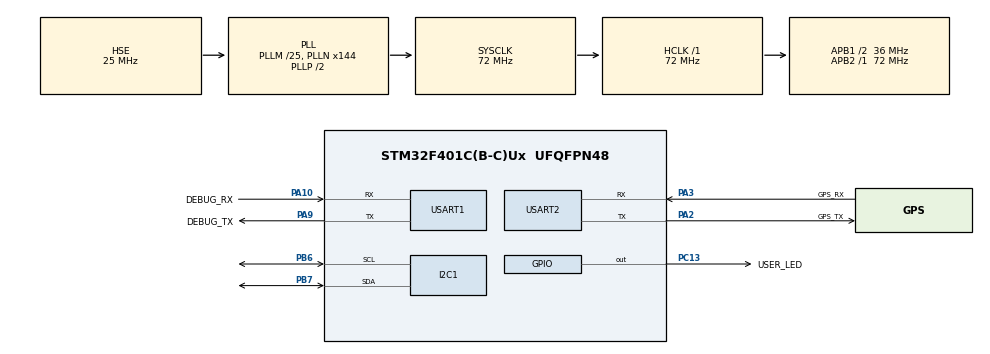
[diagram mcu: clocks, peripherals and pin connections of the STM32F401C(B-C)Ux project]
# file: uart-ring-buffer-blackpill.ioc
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Mcu.Family=STM32F4
Mcu.Name=STM32F401C(B-C)Ux
Mcu.Package=UFQFPN48
NVIC.I2C1_ER_IRQn=true\:0\:0\:false\:false\:true\:true\:true\:true
NVIC.I2C1_EV_IRQn=true\:0\:0\:false\:false\:true\:true\:true\:true
NVIC.PriorityGroup=NVIC_PRIORITYGROUP_4
NVIC.TIM2_IRQn=true\:0\:0\:false\:false\:true\:true\:true\:true
NVIC.USART2_IRQn=true\:0\:0\:false\:false\:true\:true\:true\:true
PA10.GPIO_Label=DEBUG_RX
PA10.Mode=Asynchronous
PA10.Signal=USART1_RX
PA2.GPIO_Label=GPS_TX
PA2.Mode=Asynchronous
PA2.Signal=USART2_TX
PA3.GPIO_Label=GPS_RX
PA3.Mode=Asynchronous
PA3.Signal=USART2_RX
PA9.GPIO_Label=DEBUG_TX
PA9.Mode=Asynchronous
PA9.Signal=USART1_TX
PB6.Mode=I2C
PB6.Signal=I2C1_SCL
PB7.Mode=I2C
PB7.Signal=I2C1_SDA
PC13-ANTI_TAMP.GPIO_Label=USER_LED
PC13-ANTI_TAMP.Signal=GPIO_Output
PH0\ -\ OSC_IN.Mode=HSE-External-Oscillator
PH0\ -\ OSC_IN.Signal=RCC_OSC_IN
PH1\ -\ OSC_OUT.Mode=HSE-External-Oscillator
PH1\ -\ OSC_OUT.Signal=RCC_OSC_OUT
ProjectManager.HeapSize=0x200
ProjectManager.StackSize=0x400
ProjectManager.TargetToolchain=STM32CubeIDE
RCC.48MHZClocksFreq_Value=36000000
RCC.AHBFreq_Value=72000000
RCC.APB1CLKDivider=RCC_HCLK_DIV2
RCC.APB1Freq_Value=36000000
RCC.APB1TimFreq_Value=72000000
RCC.APB2Freq_Value=72000000
RCC.APB2TimFreq_Value=72000000
RCC.CortexFreq_Value=72000000
RCC.HCLKFreq_Value=72000000
RCC.HSE_VALUE=25000000
RCC.HSI_VALUE=16000000
RCC.LSE_VALUE=32768
RCC.PLLM=25
RCC.PLLN=144
RCC.PLLSourceVirtual=RCC_PLLSOURCE_HSE
RCC.SYSCLKFreq_VALUE=72000000
RCC.SYSCLKSource=RCC_SYSCLKSOURCE_PLLCLK
RCC.VCOOutputFreq_Value=144000000
TIM2.AutoReloadPreload=TIM_AUTORELOAD_PRELOAD_ENABLE
TIM2.Period=10000-1
TIM2.Prescaler=7200-1
USART1.VirtualMode=VM_ASYNC
USART2.VirtualMode=VM_ASYNC
VP_TIM2_VS_ClockSourceINT.Mode=Internal
board=custom

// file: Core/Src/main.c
/* USER CODE BEGIN Header */
/**
  ******************************************************************************
  * @file           : main.c
  * @brief          : Main program body
  ******************************************************************************
  * @attention
  *
  * Copyright (c) 2024 STMicroelectronics.
  * All rights reserved.
  *
  * This software is licensed under terms that can be found in the LICENSE file
  * in the root directory of this software component.
  * If no LICENSE file comes with this software, it is provided AS-IS.
  *
  ******************************************************************************
  */
/* USER CODE END Header */
#include "main.h"

/* USER CODE BEGIN Includes */
#include "NMEA.h"
#include "UartRingbuffer.h"
#include <stdio.h>
#include <string.h>
#include <stdarg.h>

/* USER CODE END Includes */

/* USER CODE BEGIN PD */

#define I2C_ADDRESS        0x3E  /* Real 7 bits slave address value in Datasheet is: b0011111
                                    mean in uint8_t equivalent at 0x1F and this value can be
                                    seen in the OAR1 register in bits ADD[1:7] */
#define MASTER_REQ_READ    0x12
#define MASTER_REQ_WRITE   0x34

#define pi 3.1416

/* Buffer Used for transmission */
uint8_t aTxBuffer[] = "Received message";

/* Buffer used for Reception */
uint8_t aRxBuffer[16];
uint8_t bTransferRequest = 0;
uint8_t initTransfer = 0;

// GPS activation commands
char startGPSCommand[15] = "AT+GPS=1\r\n";
char startGPSCommandReceive[15] = "AT+GPSRD=5\r\n";

#define DEBUG 1 // set to 0 to disable debugging

/* USER CODE END PD */

I2C_HandleTypeDef hi2c1;

TIM_HandleTypeDef htim2;

UART_HandleTypeDef huart1;
UART_HandleTypeDef huart2;

void SystemClock_Config(void);
static void MX_GPIO_Init(void);
static void MX_USART1_UART_Init(void);
static void MX_USART2_UART_Init(void);
static void MX_I2C1_Init(void);
static void MX_TIM2_Init(void);
/* USER CODE BEGIN PFP */

void initGPS();
int read_GPS(void);
void Read_GPS(void);
int Get_TimeElapsed(int);
int Check_GeoFence(void);
void Retrieve_EEPROM (uint32_t);
int Save_toEEPROM(uint32_t, char*);
float deg2rad(float);
float rad2deg(float);
void Set_Time(int);
int Set_Location(uint32_t);
int Set_Location(uint32_t);

// helper functions
void myprintf(UART_HandleTypeDef huart, const char* fmt, ...);

/* USER CODE END PFP */

/* USER CODE BEGIN 0 */
char* lineStatus[] = {"stopped", "running", "fast forward", "fast forward->12"};
int linesInd = 0;
int setLoc = 0;   // I2C flag to set current location for Geo-Fencing

GPSSTRUCT gpsData;
int flagGGA = 0, flagRMC = 0;

char lcdBuffer1 [50];
char lcdBuffer2 [50];

char start_GPS_command[15] = "AT+GPS=1\n\r";
char received_data[100]; // hold data received from GPS
char gga[10] = "GGA";

char posBuffer[50];
char timeBuffer[50];

int VCCTimeout = 5000; // GGA or RMC will not be received if the VCC is not sufficient
char no_fix_message[40] = "Decode error: No satellite fix. Please move to an open area";
char vcc_timeout_message[40] = "Decode error: Low VCC. GPS power supply should be 5V";

/** EEPROM STUFF **/
// EEPROM Addresses
#define STM32F4 1

#if STM32F4 == 1

	// EEPROM memory address for STM32F401CCU6
	uint32_t locAddress = 0x08004810;
	uint32_t timeAddress = 0x08005C10;
	uint32_t refAddress = 0x08004410;

#else

	// EEPROM memory address for STM32F103C8
	uint32_t locAddress = 0x08004810;
	uint32_t timeAddress = 0x08005C10;
	uint32_t refAddress = 0x08004410;

#endif

char *data = "hello FLASH from ControllerTech\
			  This is a test to see how many";

char *timeG = "12:12:14";
char *dateG = "010223";
char *lat = "12.34S";
char *lon = "12.34W";
int GPSLocked; //tells if we have GPS signal locked or not

uint32_t data2[] = {0x1,0x2,0x3,0x4,0x5,0x6,0x7,0x8,0x9};

uint32_t Rx_Data[30];

char string[100];

float RxVal;

// Save seconds and minutes on timer
int secS = 0;     // Timer2 second lapsed (tick)
int minP = 0;     // Timer minute
int minD = 0;     // Minutes lapsed since failed initialization

//char received_data[100];
char GGA[100]; // hold GGA data from GPS
char RMC[100];

char gpsResponseBuf[100]; // hold GPS response during initialization

void initGPS(){

	Uart_sendstring(startGPSCommand); // start GPS
	HAL_Delay(200);
	Uart_sendstring(startGPSCommandReceive); // receive GPS data after N seconds
	HAL_Delay(200);

}

int checkGPSInitResponse() {

	if(Wait_for("OK") == 1) {
		VCCTimeout = 5000;
		return 1;

	} else {
		VCCTimeout = 5000;
		return 0;
	}

	if (VCCTimeout <= 0)
	  {
		  VCCTimeout = 5000;  // Reset the timeout

		  //reset flags
		  flagGGA =flagRMC =0;

		  myprintf(huart1, vcc_timeout_message);
		  return 0;
	  }

}

void myprintf(UART_HandleTypeDef huart, const char* fmt,  ...){
	static char buffer[256];
	va_list args;
	va_start(args, fmt);
	vsnprintf(buffer, sizeof(buffer), fmt, args);
	va_end(args);

	int len = strlen(buffer);
	HAL_UART_Transmit(&huart, (uint8_t*)buffer, len, -1 );

}

/** EEPROM STUFF **/
// EEPROM Addresses

int GPSLocked; //tells if we have GPS signal locked or not

uint32_t Rx_Data[30];

char string[100];

float RxVal;

/* USER CODE END 0 */

int main(void)
{

  /* MCU Configuration--------------------------------------------------------*/

  /* Reset of all peripherals, Initializes the Flash interface and the Systick. */
  HAL_Init();

  /* Configure the system clock */
  SystemClock_Config();

  /* Initialize all configured peripherals */
  MX_GPIO_Init();
  MX_USART1_UART_Init();
  MX_USART2_UART_Init();
  MX_I2C1_Init();
  MX_TIM2_Init();
  /* USER CODE BEGIN 2 */

  Ringbuf_init();

  initGPS();

  if(checkGPSInitResponse()) {
	  sprintf(gpsResponseBuf,
			"%s\n\r",
			"Init OK"
			);
  } else {
	  sprintf(gpsResponseBuf,
		"%s\n\r",
		"Init failed"
		);
  }

  // Get current time (microseconds

//  if (HAL_I2C_EnableListen_IT(&hi2c1) != HAL_OK) {
//	  /* Transfer error in reception process****/
//	  Error_Handler();
//  }

//  HAL_Delay(1000);

//  int count = 0;
//  HAL_UART_Transmit(&huart1, "Trying GPS\n", 10, 100);
//
//  while (!read_GPS() && count < 5) {
//	  // wait until we have a GPS Lock
//	  HAL_UART_Transmit(&huart1, "Trying GPS\n", 10, 100);
//	  count++;
//	  HAL_Delay(2000);
//  }

//  count = 0;
//  while (!Check_GeoFence() && count < 3) {
//	  HAL_UART_Transmit(&huart1, "Trying GeoFence\n", 15, 100);
//	  // notify stolen
//	  count++;
//	  if (!read_GPS()) {
//		  return 0;
//	  }
//  }

//  if (count < 3) {
//	  linesInd = 2;
//	  Set_Time(minP);
//  }
//  count = 0;   // Reset count value to be re-used elsewhere

  // Start timer
//  HAL_TIM_Base_Start_IT(&htim2);

//  HAL_GPIO_WritePin(RELAY_GPIO_Port, RELAY_Pin, GPIO_PIN_RESET);
//  HAL_UART_Transmit(&huart1, "Shall we?", 9, 100);

  /* USER CODE END 2 */

  /* Infinite loop */
  while (1)
  {

    /* USER CODE BEGIN 3 */

//	  HAL_UART_Transmit(&huart1, (uint8_t*)gpsResponseBuf, 10, 100);
//	  HAL_Delay(5);

	  read_GPS();

	  myprintf(huart1, posBuffer);
	  myprintf(huart1, timeBuffer);
//
//#if DEBUG == 1
//	  read_GPS();
//
//	  myprintf(huart1, posBuffer);
//	  myprintf(huart1, timeBuffer);
//
//#else
//	  if (Xfer_Complete == 1) {
//	 		  if (HAL_I2C_EnableListen_IT(&hi2c1) != HAL_OK) {
//	 		  	  /* Transfer error in reception process***/
//	 		  	  Error_Handler();
//	 		    }
//	 		  Xfer_Complete = 0;
//	 	  }
//
//	 	  // if one minute has passed, send tick
//	 	  if (minP) {
//	 		  minP = 0;
//	 		  if (linesInd == 1) {
//	 			  HAL_GPIO_WritePin(RELAY_GPIO_Port, RELAY_Pin, GPIO_PIN_SET);
//	 			  HAL_Delay(50);
//	 			  HAL_GPIO_WritePin(RELAY_GPIO_Port, RELAY_Pin, GPIO_PIN_RESET);
////	 			  if (!Save_toEEPROM(timeAddress, timeBuffer)){
////	 				  // cannot save time to EEPROM
////	 			  }
//	 			  if (dayP && count < 5) {
//	 				  if (read_GPS()) {
//	 					  if (!Check_GeoFence()) {
//	 						  // Not where it should be, do sumn
//	 						  count++;
//	 						  if (count == 5) stolenProtocol();
//	 					  } else dayP = 0;
//	 				  }
//	 				  else {
//	 					  // Cannot receive GPS reading
//	 					  count++;
//	 				  }
//	 			  }
//	 		  }
//	 		  else if (linesInd == 0) {
//	 			  if (setLoc == 1) {
//	 				  if (Set_Location(locAddress)) setLoc = 0;
//	 			  }
//	 			  minD++;
//	 			  if (read_GPS()) Set_Time(minD);
//	 		  }
//	 	  }
//
//	#endif
//

  }

  /* USER CODE END 3 */
}

void SystemClock_Config(void)
{
  RCC_OscInitTypeDef RCC_OscInitStruct = {0};
  RCC_ClkInitTypeDef RCC_ClkInitStruct = {0};

  /** Configure the main internal regulator output voltage
  */
  __HAL_RCC_PWR_CLK_ENABLE();
  __HAL_PWR_VOLTAGESCALING_CONFIG(PWR_REGULATOR_VOLTAGE_SCALE2);

  /** Initializes the RCC Oscillators according to the specified parameters
  * in the RCC_OscInitTypeDef structure.
  */
  RCC_OscInitStruct.OscillatorType = RCC_OSCILLATORTYPE_HSE;
  RCC_OscInitStruct.HSEState = RCC_HSE_ON;
  RCC_OscInitStruct.PLL.PLLState = RCC_PLL_ON;
  RCC_OscInitStruct.PLL.PLLSource = RCC_PLLSOURCE_HSE;
  RCC_OscInitStruct.PLL.PLLM = 25;
  RCC_OscInitStruct.PLL.PLLN = 144;
  RCC_OscInitStruct.PLL.PLLP = RCC_PLLP_DIV2;
  RCC_OscInitStruct.PLL.PLLQ = 4;
  if (HAL_RCC_OscConfig(&RCC_OscInitStruct) != HAL_OK)
  {
    Error_Handler();
  }

  /** Initializes the CPU, AHB and APB buses clocks
  */
  RCC_ClkInitStruct.ClockType = RCC_CLOCKTYPE_HCLK|RCC_CLOCKTYPE_SYSCLK
                              |RCC_CLOCKTYPE_PCLK1|RCC_CLOCKTYPE_PCLK2;
  RCC_ClkInitStruct.SYSCLKSource = RCC_SYSCLKSOURCE_PLLCLK;
  RCC_ClkInitStruct.AHBCLKDivider = RCC_SYSCLK_DIV1;
  RCC_ClkInitStruct.APB1CLKDivider = RCC_HCLK_DIV2;
  RCC_ClkInitStruct.APB2CLKDivider = RCC_HCLK_DIV1;

  if (HAL_RCC_ClockConfig(&RCC_ClkInitStruct, FLASH_LATENCY_2) != HAL_OK)
  {
    Error_Handler();
  }
}

static void MX_I2C1_Init(void)
{

  hi2c1.Instance = I2C1;
  hi2c1.Init.ClockSpeed = 100000;
  hi2c1.Init.DutyCycle = I2C_DUTYCYCLE_2;
  hi2c1.Init.OwnAddress1 = 0;
  hi2c1.Init.AddressingMode = I2C_ADDRESSINGMODE_7BIT;
  hi2c1.Init.DualAddressMode = I2C_DUALADDRESS_DISABLE;
  hi2c1.Init.OwnAddress2 = 0;
  hi2c1.Init.GeneralCallMode = I2C_GENERALCALL_DISABLE;
  hi2c1.Init.NoStretchMode = I2C_NOSTRETCH_DISABLE;
  if (HAL_I2C_Init(&hi2c1) != HAL_OK)
  {
    Error_Handler();
  }

}

static void MX_TIM2_Init(void)
{

  TIM_ClockConfigTypeDef sClockSourceConfig = {0};
  TIM_MasterConfigTypeDef sMasterConfig = {0};

  htim2.Instance = TIM2;
  htim2.Init.Prescaler = 7200-1;
  htim2.Init.CounterMode = TIM_COUNTERMODE_UP;
  htim2.Init.Period = 10000-1;
  htim2.Init.ClockDivision = TIM_CLOCKDIVISION_DIV1;
  htim2.Init.AutoReloadPreload = TIM_AUTORELOAD_PRELOAD_ENABLE;
  if (HAL_TIM_Base_Init(&htim2) != HAL_OK)
  {
    Error_Handler();
  }
  sClockSourceConfig.ClockSource = TIM_CLOCKSOURCE_INTERNAL;
  if (HAL_TIM_ConfigClockSource(&htim2, &sClockSourceConfig) != HAL_OK)
  {
    Error_Handler();
  }
  sMasterConfig.MasterOutputTrigger = TIM_TRGO_RESET;
  sMasterConfig.MasterSlaveMode = TIM_MASTERSLAVEMODE_DISABLE;
  if (HAL_TIMEx_MasterConfigSynchronization(&htim2, &sMasterConfig) != HAL_OK)
  {
    Error_Handler();
  }

}

static void MX_USART1_UART_Init(void)
{

  huart1.Instance = USART1;
  huart1.Init.BaudRate = 115200;
  huart1.Init.WordLength = UART_WORDLENGTH_8B;
  huart1.Init.StopBits = UART_STOPBITS_1;
  huart1.Init.Parity = UART_PARITY_NONE;
  huart1.Init.Mode = UART_MODE_TX_RX;
  huart1.Init.HwFlowCtl = UART_HWCONTROL_NONE;
  huart1.Init.OverSampling = UART_OVERSAMPLING_16;
  if (HAL_UART_Init(&huart1) != HAL_OK)
  {
    Error_Handler();
  }

}

static void MX_USART2_UART_Init(void)
{

  huart2.Instance = USART2;
  huart2.Init.BaudRate = 115200;
  huart2.Init.WordLength = UART_WORDLENGTH_8B;
  huart2.Init.StopBits = UART_STOPBITS_1;
  huart2.Init.Parity = UART_PARITY_NONE;
  huart2.Init.Mode = UART_MODE_TX_RX;
  huart2.Init.HwFlowCtl = UART_HWCONTROL_NONE;
  huart2.Init.OverSampling = UART_OVERSAMPLING_16;
  if (HAL_UART_Init(&huart2) != HAL_OK)
  {
    Error_Handler();
  }

}

static void MX_GPIO_Init(void)
{
  GPIO_InitTypeDef GPIO_InitStruct = {0};

  /* GPIO Ports Clock Enable */
  __HAL_RCC_GPIOC_CLK_ENABLE();
  __HAL_RCC_GPIOH_CLK_ENABLE();
  __HAL_RCC_GPIOA_CLK_ENABLE();
  __HAL_RCC_GPIOB_CLK_ENABLE();

  /*Configure GPIO pin Output Level */
  HAL_GPIO_WritePin(USER_LED_GPIO_Port, USER_LED_Pin, GPIO_PIN_RESET);

  /*Configure GPIO pin : USER_LED_Pin */
  GPIO_InitStruct.Pin = USER_LED_Pin;
  GPIO_InitStruct.Mode = GPIO_MODE_OUTPUT_PP;
  GPIO_InitStruct.Pull = GPIO_NOPULL;
  GPIO_InitStruct.Speed = GPIO_SPEED_FREQ_LOW;
  HAL_GPIO_Init(USER_LED_GPIO_Port, &GPIO_InitStruct);

}

/* USER CODE BEGIN 4 */

/**
 * @brief prompt from controller to save current location
 * @param locAddress GPS location from module to be saved
 * @retval ack
 */
int Set_Location(uint32_t address) {
	if (read_GPS()) {
		int i = Save_toEEPROM(address, posBuffer);
		linesInd = 1;
		return i;
	}
	else return 0;
}

/**
 * @brief Get time elapsed
 * @param delays = any added delays
 * @retval ticks = number of minute ticks to do time correction
 */
//int Get_TimeElapsed(int delays) {
//	/** Current time in uS */
//    int hr, min, sec;
//    int hrC, minC, secC;
//    Retrieve_EEPROM(timeAddress);
//    scanf(string, "%02d:%02d:%02d", &hr, &min, &sec);
//    if (hr < 1 && min < 1 && sec < 1) return 0;
//    scanf(timeBuffer, "%02d:%02d:%02d", &hrC, &minC, &secC);
//    if (hrC < 1 && minC < 1 && secC < 1) return 0;
//	hr = (hr >= 12) ? hr - 12 : hr;
//	hr = (hrC >= 12) ? hrC - 12 : hrC;
//	int total_minutes = hr * 60 + min;
//	int total_minutesC = hrC * 60 + min;
//	int diff = total_minutes + delays - total_minutesC;
//	if (diff < 0) diff += 720;
//
//	// time per fast-forward ticks is 1/2 sec
//	// so...to correct time we will have to have to add that time
//    diff += (diff / 30); // minutes convert to seconds then div by 2 since 2 ticks per sec
//	return diff;
//}

/**
 * @brief Sets clocks hands
 * @param none
 * @retval none
 */
//void Set_Time(int tickE) {
//  int ticks = Get_TimeElapsed(tickE);
//
////  HAL_GPIO_WritePin(RELAY_GPIO_Port, RELAY_Pin, GPIO_PIN_RESET);
//  if (ticks > 0) {
//	  linesInd = 2;
//	  for (int i = 0; i <= ticks; i++) {
//			//Uart_sendstring("Onn");
//		  // TODO: ADD A4988 DRIVER CODE
////			HAL_GPIO_WritePin(RELAY_GPIO_Port, RELAY_Pin, GPIO_PIN_SET);
////			HAL_Delay (50);
////			HAL_GPIO_WritePin(RELAY_GPIO_Port, RELAY_Pin, GPIO_PIN_RESET);
////			HAL_Delay (200);
//	  }
//	  linesInd = 1;
//  }
//}

/**
 * @brief Function to save latest time in EEPROM
 * @param time: time as a string
 * @retval status = successful (1) else 0
 */
int Save_toEEPROM(uint32_t address, char* time) {
	char str[100];
	int numofwords = (strlen(time)/4)+((strlen(time)%4)!=0);
	Flash_Write_Data(address , (uint32_t *)time, numofwords);
	Flash_Read_Data(address , Rx_Data, numofwords);
	Convert_To_Str(Rx_Data, str);
	if (!strcmp(time, str)) {
		return 0;
	} else return 1;
}

/**
 * @brief Retrieve from EEPROM
 * @param none
 * @retval none
 */
//void Retrieve_EEPROM (uint32_t address) {
//	memset(string,'\0', 50);
//	int numofwords = (strlen(data)/4)+((strlen(data)%4)!=0); // Update Data value, use standard
//	Flash_Read_Data(address , Rx_Data, numofwords);
//	Convert_To_Str(Rx_Data, string);
//}

/**
 * @brief GPS read stuff
 * @param none
 * @retval int
 */
int read_GPS(void) {
	/*  GPS Stuff */
	  if (Wait_for("GGA") == 1)
	  {
		  VCCTimeout = 5000;  // Reset the VCC Timeout indicating the GGA is being received
		  Copy_upto("*", GGA);
		  if (decodeGGA(GGA, &gpsData.ggastruct) == 0) flagGGA = 2;  // 2 indicates the data is valid
		  else flagGGA = 1;  // 1 indicates the data is invalid
	  }

	  if (Wait_for("RMC") == 1)
	  {
		  VCCTimeout = 5000;  // Reset the VCC Timeout indicating the RMC is being received
		  Copy_upto("*", RMC);
		  if (decodeRMC(RMC, &gpsData.rmcstruct) == 0) flagRMC = 2;  // 2 indicates the data is valid
		  else flagRMC = 1;  // 1 indicates the data is invalid
	  }

	  if ((flagGGA == 2) | (flagRMC == 2))
	  {
		  memset(timeBuffer, '\0', 50);

		  sprintf (timeBuffer,
				  "%02d:%02d:%02d, %02d%02d%02d",
				  gpsData.ggastruct.tim.hour,
				  gpsData.ggastruct.tim.min,
				  gpsData.ggastruct.tim.sec,
				  gpsData.rmcstruct.date.Day,
				  gpsData.rmcstruct.date.Mon,
				  gpsData.rmcstruct.date.Yr);

		  memset(posBuffer, '\0', 50);

		  sprintf (posBuffer,
				  "%.2f%c, %.2f%c  ",
				  gpsData.ggastruct.lcation.latitude,
				  gpsData.ggastruct.lcation.NS,
				  gpsData.ggastruct.lcation.longitude,
				  gpsData.ggastruct.lcation.EW);

		  return 1;
	  }
	  else if ((flagGGA == 1) | (flagRMC == 1))
	  {
		  myprintf(huart1, no_fix_message);
		  return 0;
	  }

	  if (VCCTimeout <= 0)
	  {
		  VCCTimeout = 5000;  // Reset the timeout

		  //reset flags
		  flagGGA =flagRMC =0;

		  myprintf(huart1, vcc_timeout_message);
		  return 0;
	  }
}

/**
 * @brief function to check Geofence
 * @param none
 * @retval int
 **/
//int Check_GeoFence(void) {
//	float lon, lat, lonS, latS;
//	char ns, ew, nsS, ewS;
//	Retrieve_EEPROM(locAddress);
//	scanf(string, "%.2f%c, %.2f%c  ", &lat,&ns,&lon,&ew);
//	if (lat < 1 && lon < 1) return 0;
//	scanf(posBuffer, "%.2f%c, %.2f%c  ", &latS,&nsS,&lonS,&ewS);
//	float theta, dist;
//	theta = lonS - lon;
//	dist = sin(deg2rad(latS)) * sin(deg2rad(lat)) + cos(deg2rad(latS)) * cos(deg2rad(lat)) * cos(deg2rad(theta));
//	dist = acos(dist);
//	dist = rad2deg(dist);
//	dist = dist * 60 * 1.1515;
//	dist = dist * 1609.344;   // Distance in meters
//	if (dist < 50) {
//		return 1;
//	} else return -1;
//}

/**
 * @brief converts decimal degrees to radians
 * @param degree
 * @retval radians
 */
float deg2rad(float deg) {
	return (deg * pi / 180);
}

/**
 * @brief converts radians to decimal degrees
 * @param radians
 * @retval degrees
 */
float rad2deg(float rad) {
	return (rad * 180 / pi);
}

/**
  * @brief  Tx Transfer completed callback.
  * @param  I2cHandle: I2C handle.
  * @note   This example shows a simple way to report end of IT Tx transfer, and
  *         you can add your own implementation.
  * @retval None
  */

void HAL_I2C_SlaveTxCpltCallback(I2C_HandleTypeDef *hi2c)
{
  HAL_UART_Transmit(&huart1, "Txed", 4, 100);
  //Xfer_Complete = 1;
}

/**
  * @brief  Rx Transfer completed callback.
  * @param  I2cHandle: I2C handle
  * @note   This example shows a simple way to report end of IT Rx transfer, and
  *         you can add your own implementation.
  * @retval None
  */
//void HAL_I2C_SlaveRxCpltCallback(I2C_HandleTypeDef *hi2c)
//{
//  HAL_UART_Transmit(&huart1, aRxBuffer, 16, 100);
//
//  char *s, *t, *d, *l;
//  s = strstr(aRxBuffer, "Linestat");
//  t = strstr(aRxBuffer, "SetLocation");
//  d = strstr(aRxBuffer, "GetTime");
//  l = strstr(aRxBuffer, "SetLineState");
//  if (s != NULL){
//	  char * txM;
//	  memset(aTxBuffer, '\0', 16);
//	  switch (linesInd) {
//	  case 0:
//		  txM = "LineStatus STOP.";
//		  break;
//	  case 1:
//		  txM = "LineStatus RUN..";
//		  break;
//	  case 2:
//		  txM = "LineStatus FASTF";
//		  break;
//	  case 3:
//		  txM = "LineStatus FF>12";
//		  break;
//	  }
//	  sprintf(aTxBuffer, txM);
//	  HAL_UART_Transmit(&huart1, aTxBuffer, 16, 100);
//	  HAL_UART_Transmit(&huart1, "It's here", 9, 100);
//  }
//  if (t != NULL) {
//	  setLoc = 1;
//	  memset(aTxBuffer, '\0', 16);
//	  uint8_t txM = "Setting Location";
//	  sprintf(aTxBuffer, txM);
//  }
//  if (d != NULL) {
//	  memset(aTxBuffer, '\0', 16);
//	  sprintf(aTxBuffer, timeBuffer + "....");
//	  HAL_UART_Transmit(&huart1, aTxBuffer, 16, 100);
//	  HAL_UART_Transmit(&huart1, "It's not here", 12, 100);
//  }
//  if (l != NULL) {
//	  uint8_t st;
//	  char *c, *txM;
//	  sscanf(aRxBuffer, "%s %d", c, st);
//	  switch (st) {
//	  case 0:
//		  txM = "Line Set to STOP";
//		  break;
//	  case 1:
//		  txM = "Line Set to RUN.";
//		  break;
//	  case 2:
//		  txM = "Line FForward>12";
//		  break;
//	  }
//	  memset(aTxBuffer, '\0', 16);
//	  sprintf(aTxBuffer, txM);
//	  HAL_UART_Transmit(&huart1, aTxBuffer, 16, 100);
//	  HAL_UART_Transmit(&huart1, "It's not here", 12, 100);
//  }
//}

/**
  * @brief  Slave Address Match callback.
  * @param  hi2c Pointer to a I2C_HandleTypeDef structure that contains
  *                the configuration information for the specified I2C.
  * @param  TransferDirection: Master request Transfer Direction (Write/Read), value of @ref I2C_XferOptions_definition
  * @param  AddrMatchCode: Address Match Code
  * @retval None
  */
//void HAL_I2C_AddrCallback(I2C_HandleTypeDef *hi2c, uint8_t TransferDirection, uint16_t AddrMatchCode)
//{
//	Transfer_Direction = TransferDirection;
//	//if (TransferDirection == I2C_DIRECTION_TRANSMIT) {
//	if (Transfer_Direction != I2C_DIRECTION_TRANSMIT) {
//		//HAL_UART_Transmit(&huart1, "TXX", 3, 100);
//		/*##- Put I2C peripheral in reception process ###########################*/
//		if (HAL_I2C_Slave_Seq_Transmit_IT(&hi2c1, (uint8_t *)aTxBuffer, 16, I2C_FIRST_AND_LAST_FRAME) != HAL_OK)
//		{
//			/* Transfer error in reception process */
//			Error_Handler();
//		}
//	}
//	else {
//		//HAL_UART_Transmit(&huart1, "RXX", 3, 100);
//		/*##- Put I2C peripheral in reception process ###########################*/
//		if (HAL_I2C_Slave_Seq_Receive_IT(&hi2c1, (uint8_t *)aRxBuffer, 16, I2C_FIRST_AND_LAST_FRAME) != HAL_OK)
//		{
//			/* Transfer error in reception process */
//			Error_Handler();
//		}
//		//HAL_UART_Transmit(&huart1, "RXC", 3, 100);
//	}
//
//}

/**
  * @brief  Listen Complete callback.
  * @param  hi2c Pointer to a I2C_HandleTypeDef structure that contains
  *                the configuration information for the specified I2C.
  * @retval None
  */
//void HAL_I2C_ListenCpltCallback(I2C_HandleTypeDef *hi2c)
//{
//	Xfer_Complete = 1;
//	HAL_UART_Transmit(&huart1, "Lcpl", 4, 100);
//}

/**
  * @brief  I2C error callbacks
  * @param  I2cHandle: I2C handle
  * @note   This example shows a simple way to report transfer error, and you can
  *         add your own implementation.
  * @retval None
  */
void HAL_I2C_ErrorCallback(I2C_HandleTypeDef *hi2c)
{
  /** Error_Handler() function is called when error occurs.
  * 1- When Slave don't acknowledge it's address, Master restarts communication.
  * 2- When Master don't acknowledge the last data transferred, Slave don't care in this example.
  */
  if (HAL_I2C_GetError(hi2c) != HAL_I2C_ERROR_AF)
  {
    Error_Handler();
  }
}

/**
 * @brief Timer Interrupt callback
 * @param Timer Handle
 * @retval none
 */
void HAL_TIM_PeriodElapsedCallback(TIM_HandleTypeDef* htim) {
	if (secS < 60) {
		secS++;
	} else {
		secS = 0;
		minP = 1;
	}
}

/* USER CODE END 4 */

void Error_Handler(void)
{
  __disable_irq();
  while (1)
  {
  }
}
